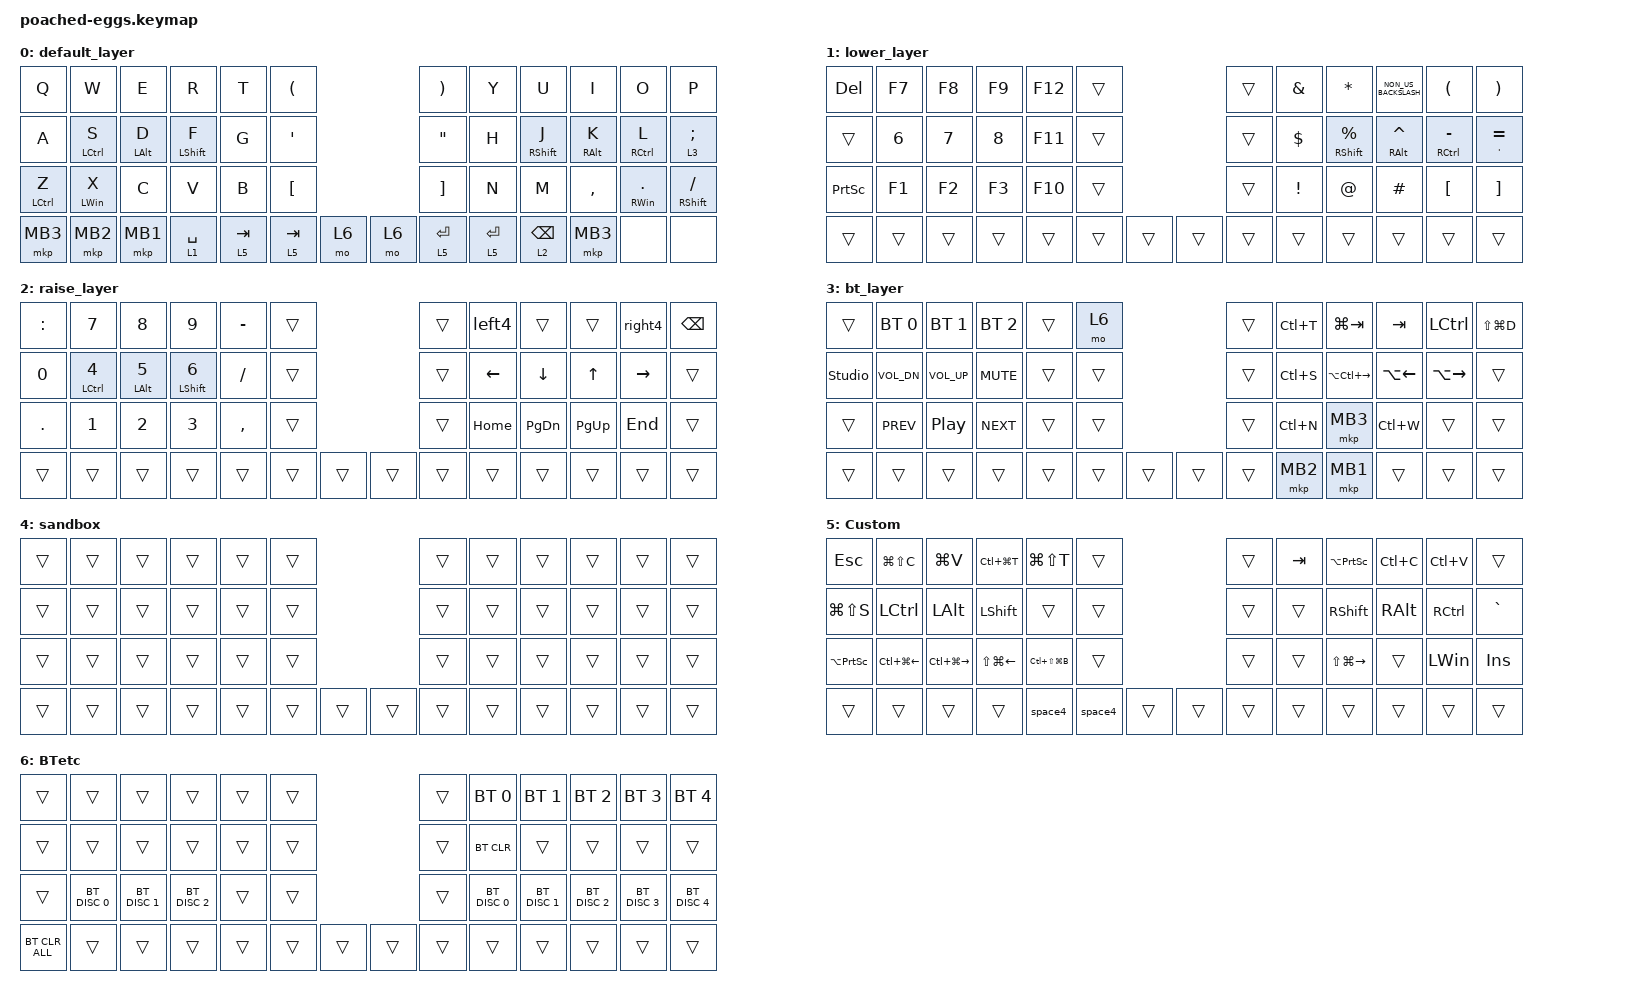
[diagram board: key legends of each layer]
#include <behaviors.dtsi>
#include <dt-bindings/zmk/bt.h>
#include <dt-bindings/zmk/keys.h>
#include <dt-bindings/zmk/pointing.h>

&mt { quick-tap-ms = <300>; };

&lt { quick-tap-ms = <300>; };

/ {
    combos {
        compatible = "zmk,combos";

        cmb_esc {
            bindings = <&kp ESCAPE>;
            key-positions = <1 0>;
        };

        cmb_mb3 {
            bindings = <&mkp MB3>;
            key-positions = <24 25>;
        };

        cmb_mb2 {
            bindings = <&mkp MB2>;
            key-positions = <14 15>;
        };

        cmb_eng {
            bindings = <&kp LANG2>;
            key-positions = <26 27>;
        };

        cmb_jp {
            bindings = <&kp LANG1>;
            key-positions = <33 32>;
        };

        cmb_minus {
            bindings = <&kp MINUS>;
            key-positions = <22 23>;
        };

        cmb_quote {
            bindings = <&kp SQT>;
            key-positions = <35 34>;
        };
    };

    macros {
        space4: space4 {
            compatible = "zmk,behavior-macro";
            #binding-cells = <0>;
            bindings = <&kp SPACE &kp SPACE &kp SPACE &kp SPACE>;
            label = "SPACE4";
        };

        right4: right4 {
            compatible = "zmk,behavior-macro";
            #binding-cells = <0>;
            bindings = <&kp RIGHT &kp RIGHT &kp RIGHT &kp RIGHT>;
            label = "RIGHT4";
        };

        left4: left4 {
            compatible = "zmk,behavior-macro";
            #binding-cells = <0>;
            bindings = <&kp LEFT &kp LEFT &kp LEFT &kp LEFT>;
            label = "LEFT4";
        };

        dispSW: dispSW {
            compatible = "zmk,behavior-macro";
            #binding-cells = <0>;
            bindings =
                <&macro_press>,
                <&kp LCTRL &kp LSHIFT &kp LGUI &kp B>,
                <&macro_release>,
                <&kp LCTRL &kp LSHIFT &kp LGUI &kp B>;

            label = "DISPSW";
        };
    };

    keymap {
        compatible = "zmk,keymap";

        default_layer {
            bindings = <
&kp Q        &kp W        &kp E           &kp R         &kp T      &kp LEFT_PARENTHESIS                &kp RIGHT_PARENTHESIS  &kp Y        &kp U            &kp I            &kp O            &kp P
&kp A        &mt LCTRL S  &mt LEFT_ALT D  &mt LSHIFT F  &kp G      &kp SQT                             &kp DOUBLE_QUOTES      &kp H        &mt RSHIFT J     &mt RIGHT_ALT K  &mt RCTRL L      &lt 3 SEMICOLON
&mt LCTRL Z  &mt LWIN X   &kp C           &kp V         &kp B      &kp LEFT_BRACKET                    &kp RIGHT_BRACKET      &kp N        &kp M            &kp COMMA        &mt RWIN PERIOD  &mt RSHIFT SLASH
&mkp MB3     &mkp MB2     &mkp MB1        &lt 1 SPACE   &lt 5 TAB  &lt 5 TAB             &mo 6  &mo 6  &lt 5 ENTER            &lt 5 ENTER  &lt 2 BACKSPACE  &mkp MB3         &none            &none
            >;
        };

        lower_layer {
            bindings = <
&kp DELETE       &kp F7        &kp F8  &kp F9        &kp F12  &trans                  &trans  &kp AMPERSAND    &kp ASTERISK        &kp NON_US_BACKSLASH  &kp LEFT_PARENTHESIS  &kp RIGHT_PARENTHESIS
&trans           &kp NUMBER_6  &kp N7  &kp NUMBER_8  &kp F11  &trans                  &trans  &kp DOLLAR       &mt RSHIFT PERCENT  &mt RIGHT_ALT CARET   &mt RCTRL MINUS       &mt SQT EQUAL
&kp PRINTSCREEN  &kp F1        &kp F2  &kp F3        &kp F10  &trans                  &trans  &kp EXCLAMATION  &kp AT_SIGN         &kp HASH              &kp LEFT_BRACKET      &kp RIGHT_BRACKET
&trans           &trans        &trans  &trans        &trans   &trans  &trans  &trans  &trans  &trans           &trans              &trans                &trans                &trans
            >;
        };

        raise_layer {
            bindings = <
&kp COLON  &kp N7              &kp N8           &kp N9               &kp MINUS  &trans                  &trans  &left4    &trans         &trans       &right4    &kp BACKSPACE
&kp N0     &mt LCTRL NUMBER_4  &mt LEFT_ALT N5  &mt LSHIFT NUMBER_6  &kp FSLH   &trans                  &trans  &kp LEFT  &kp DOWN       &kp UP       &kp RIGHT  &trans
&kp DOT    &kp N1              &kp N2           &kp N3               &kp COMMA  &trans                  &trans  &kp HOME  &kp PAGE_DOWN  &kp PAGE_UP  &kp END    &trans
&trans     &trans              &trans           &trans               &trans     &trans  &trans  &trans  &trans  &trans    &trans         &trans       &trans     &trans
            >;
        };

        bt_layer {
            bindings = <
&trans          &bt BT_SEL 0  &bt BT_SEL 1  &bt BT_SEL 2  &trans  &mo 6                   &trans  &kp LC(T)  &kp LG(TAB)        &kp TAB       &kp LCTRL      &kp LS(LG(D))
&studio_unlock  &kp C_VOL_DN  &kp C_VOL_UP  &kp C_MUTE    &trans  &trans                  &trans  &kp LC(S)  &kp LA(LC(RIGHT))  &kp LA(LEFT)  &kp LA(RIGHT)  &trans
&trans          &kp C_PREV    &kp C_PP      &kp C_NEXT    &trans  &trans                  &trans  &kp LC(N)  &mkp MB3           &kp LC(W)     &trans         &trans
&trans          &trans        &trans        &trans        &trans  &trans  &trans  &trans  &trans  &mkp MB2   &mkp MB1           &trans        &trans         &trans
            >;
        };

        sandbox {
            bindings = <
&trans  &trans  &trans  &trans  &trans  &trans                  &trans  &trans  &trans  &trans  &trans  &trans
&trans  &trans  &trans  &trans  &trans  &trans                  &trans  &trans  &trans  &trans  &trans  &trans
&trans  &trans  &trans  &trans  &trans  &trans                  &trans  &trans  &trans  &trans  &trans  &trans
&trans  &trans  &trans  &trans  &trans  &trans  &trans  &trans  &trans  &trans  &trans  &trans  &trans  &trans
            >;
        };

        Custom {
            bindings = <
&kp ESCAPE           &kp LG(LS(C))     &kp LG(V)          &kp LC(LG(T))     &kp LG(LS(T))      &trans                   &trans  &kp TAB  &kp LA(PRINTSCREEN)  &kp LC(C)  &kp LC(V)  &trans
&kp LG(LS(S))        &kp LCTRL         &kp LALT           &kp LSHFT         &trans             &trans                   &trans  &trans   &kp RSHFT            &kp RALT   &kp RCTRL  &kp GRAVE
&kp LA(PRINTSCREEN)  &kp LC(LG(LEFT))  &kp LC(LG(RIGHT))  &kp LS(LG(LEFT))  &kp LC(LS(LG(B)))  &trans                   &trans  &trans   &kp LS(LG(RIGHT))    &trans     &kp LWIN   &kp INSERT
&trans               &trans            &trans             &trans            &space4            &space4  &trans  &trans  &trans  &trans   &trans               &trans     &trans     &trans
            >;
        };

        BTetc {
            bindings = <
&trans          &trans         &trans         &trans         &trans  &trans                  &trans  &bt BT_SEL 0   &bt BT_SEL 1   &bt BT_SEL 2   &bt BT_SEL 3   &bt BT_SEL 4
&trans          &trans         &trans         &trans         &trans  &trans                  &trans  &bt BT_CLR     &trans         &trans         &trans         &trans
&trans          &bt BT_DISC 0  &bt BT_DISC 1  &bt BT_DISC 2  &trans  &trans                  &trans  &bt BT_DISC 0  &bt BT_DISC 1  &bt BT_DISC 2  &bt BT_DISC 3  &bt BT_DISC 4
&bt BT_CLR_ALL  &trans         &trans         &trans         &trans  &trans  &trans  &trans  &trans  &trans         &trans         &trans         &trans         &trans
            >;
        };
    };
};
